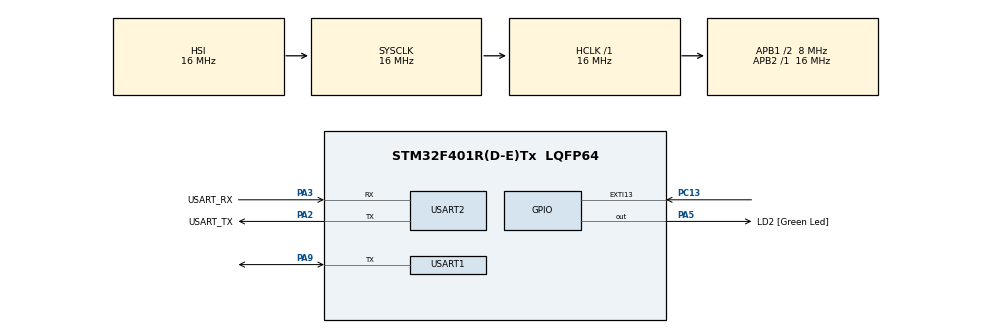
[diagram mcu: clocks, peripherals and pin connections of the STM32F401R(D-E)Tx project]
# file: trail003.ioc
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Mcu.Family=STM32F4
Mcu.Name=STM32F401R(D-E)Tx
Mcu.Package=LQFP64
NVIC.EXTI15_10_IRQn=true\:0\:0\:false\:false\:true\:true\:true\:true
NVIC.PriorityGroup=NVIC_PRIORITYGROUP_0
NVIC.USART1_IRQn=true\:0\:0\:false\:false\:true\:true\:true\:true
PA13.GPIO_Label=TMS
PA13.Mode=Serial_Wire
PA13.Signal=SYS_JTMS-SWDIO
PA14.GPIO_Label=TCK
PA14.Mode=Serial_Wire
PA14.Signal=SYS_JTCK-SWCLK
PA2.GPIO_Label=USART_TX
PA2.GPIO_Mode=GPIO_MODE_AF_PP
PA2.GPIO_PuPd=GPIO_NOPULL
PA2.GPIO_Speed=GPIO_SPEED_FREQ_LOW
PA2.Mode=Asynchronous
PA2.Signal=USART2_TX
PA3.GPIO_Label=USART_RX
PA3.GPIO_Mode=GPIO_MODE_AF_PP
PA3.GPIO_PuPd=GPIO_NOPULL
PA3.GPIO_Speed=GPIO_SPEED_FREQ_LOW
PA3.Mode=Asynchronous
PA3.Signal=USART2_RX
PA5.GPIO_Label=LD2 [Green Led]
PA5.GPIO_Mode=GPIO_MODE_OUTPUT_PP
PA5.GPIO_PuPd=GPIO_NOPULL
PA5.GPIO_Speed=GPIO_SPEED_FREQ_LOW
PA5.Signal=GPIO_Output
PA9.GPIO_PuPd=GPIO_PULLUP
PA9.Mode=Half_duplex(single_wire_mode)
PA9.Signal=USART1_TX
PB3.GPIO_Label=SWO
PB3.Signal=SYS_JTDO-SWO
PC13-ANTI_TAMP.GPIO_ModeDefaultEXTI=GPIO_MODE_IT_RISING
PC13-ANTI_TAMP.GPIO_PuPd=GPIO_PULLDOWN
PC13-ANTI_TAMP.Signal=GPXTI13
PC14-OSC32_IN.Signal=RCC_OSC32_IN
PC15-OSC32_OUT.Signal=RCC_OSC32_OUT
PH0\ -\ OSC_IN.Mode=HSE-External-Clock-Source
PH0\ -\ OSC_IN.Signal=RCC_OSC_IN
PH1\ -\ OSC_OUT.Mode=HSE-External-Clock-Source
PH1\ -\ OSC_OUT.Signal=RCC_OSC_OUT
ProjectManager.HeapSize=0x200
ProjectManager.StackSize=0x400
ProjectManager.TargetToolchain=STM32CubeIDE
RCC.48MHZClocksFreq_Value=96000000
RCC.AHBFreq_Value=16000000
RCC.APB1CLKDivider=RCC_HCLK_DIV2
RCC.APB1Freq_Value=8000000
RCC.APB1TimFreq_Value=16000000
RCC.APB2Freq_Value=16000000
RCC.APB2TimFreq_Value=16000000
RCC.CortexFreq_Value=16000000
RCC.HCLKFreq_Value=16000000
RCC.HSE_VALUE=8000000
RCC.HSI_VALUE=16000000
RCC.PLLM=4
RCC.PLLN=336
RCC.PLLP=RCC_PLLP_DIV4
RCC.PLLQ=7
RCC.PLLSourceVirtual=RCC_PLLSOURCE_HSE
RCC.SYSCLKFreq_VALUE=16000000
RCC.VCOOutputFreq_Value=672000000
USART1.VirtualMode=VM_ASYNC
USART2.VirtualMode=VM_ASYNC
board=NUCLEO-F401RE

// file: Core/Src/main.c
/* USER CODE BEGIN Header */
/**
  ******************************************************************************
  * @file           : main.c
  * @brief          : Main program body
  ******************************************************************************
  * @attention
  *
  * Copyright (c) 2024 STMicroelectronics.
  * All rights reserved.
  *
  * This software is licensed under terms that can be found in the LICENSE file
  * in the root directory of this software component.
  * If no LICENSE file comes with this software, it is provided AS-IS.
  *
  ******************************************************************************
  */
/* USER CODE END Header */
#include "main.h"

/* USER CODE BEGIN Includes */

#include "stdio.h"

/* USER CODE END Includes */

UART_HandleTypeDef huart1;
UART_HandleTypeDef huart2;

void SystemClock_Config(void);
static void MX_GPIO_Init(void);
static void MX_USART2_UART_Init(void);
static void MX_USART1_UART_Init(void);

/* USER CODE BEGIN 0 */

uint8_t RxData[30];
int indx = 0;
uint8_t TxData[25];
int isClicked = 0;

void HAL_UARTEx_RxEventCallback(UART_HandleTypeDef* huart, uint16_t Size) {
	HAL_UARTEx_ReceiveToIdle_IT(&huart1, RxData, 30);
}

void HAL_GPIO_EXTI_Callback(uint16_t GPIO_Pin) {
	if (GPIO_Pin == GPIO_PIN_13) {

		if (isClicked == 0) {
			isClicked = 1;
		}

		else if (isClicked == 3) {
			isClicked = 2;
		}
	}
}

/* USER CODE END 0 */

int main(void)
{

  /* MCU Configuration--------------------------------------------------------*/

  /* Reset of all peripherals, Initializes the Flash interface and the Systick. */
  HAL_Init();

  /* Configure the system clock */
  SystemClock_Config();

  /* Initialize all configured peripherals */
  MX_GPIO_Init();
  MX_USART2_UART_Init();
  MX_USART1_UART_Init();
  /* USER CODE BEGIN 2 */

  HAL_HalfDuplex_EnableReceiver(&huart1);
  HAL_UARTEx_ReceiveToIdle_IT(&huart1, RxData, 30);

  /* USER CODE END 2 */

  /* Infinite loop */
  while (1)
  {

    /* USER CODE BEGIN 3 */

	  if (isClicked == 1) {

		  HAL_Delay(200);

		  indx++;

		  int len = sprintf((char*) TxData, "LED_ONN", indx);
		  HAL_HalfDuplex_EnableTransmitter(&huart1);
		  HAL_UART_Transmit(&huart1, TxData, len, 1000);
		  HAL_HalfDuplex_EnableReceiver(&huart1);
		  isClicked = 3;
	  }

	  else if (isClicked == 2) {

		  HAL_Delay(200);

		  indx++;

		  int len = sprintf((char*) TxData, "LED_OFF", indx);
		  HAL_HalfDuplex_EnableTransmitter(&huart1);
		  HAL_UART_Transmit(&huart1, TxData, len, 1000);
		  HAL_HalfDuplex_EnableReceiver(&huart1);
		  isClicked = 0;
	  }

  }
  /* USER CODE END 3 */
}

void SystemClock_Config(void)
{
  RCC_OscInitTypeDef RCC_OscInitStruct = {0};
  RCC_ClkInitTypeDef RCC_ClkInitStruct = {0};

  /** Configure the main internal regulator output voltage
  */
  __HAL_RCC_PWR_CLK_ENABLE();
  __HAL_PWR_VOLTAGESCALING_CONFIG(PWR_REGULATOR_VOLTAGE_SCALE2);

  /** Initializes the RCC Oscillators according to the specified parameters
  * in the RCC_OscInitTypeDef structure.
  */
  RCC_OscInitStruct.OscillatorType = RCC_OSCILLATORTYPE_HSI;
  RCC_OscInitStruct.HSIState = RCC_HSI_ON;
  RCC_OscInitStruct.HSICalibrationValue = RCC_HSICALIBRATION_DEFAULT;
  RCC_OscInitStruct.PLL.PLLState = RCC_PLL_NONE;
  if (HAL_RCC_OscConfig(&RCC_OscInitStruct) != HAL_OK)
  {
    Error_Handler();
  }

  /** Initializes the CPU, AHB and APB buses clocks
  */
  RCC_ClkInitStruct.ClockType = RCC_CLOCKTYPE_HCLK|RCC_CLOCKTYPE_SYSCLK
                              |RCC_CLOCKTYPE_PCLK1|RCC_CLOCKTYPE_PCLK2;
  RCC_ClkInitStruct.SYSCLKSource = RCC_SYSCLKSOURCE_HSI;
  RCC_ClkInitStruct.AHBCLKDivider = RCC_SYSCLK_DIV1;
  RCC_ClkInitStruct.APB1CLKDivider = RCC_HCLK_DIV2;
  RCC_ClkInitStruct.APB2CLKDivider = RCC_HCLK_DIV1;

  if (HAL_RCC_ClockConfig(&RCC_ClkInitStruct, FLASH_LATENCY_0) != HAL_OK)
  {
    Error_Handler();
  }
}

static void MX_USART1_UART_Init(void)
{

  huart1.Instance = USART1;
  huart1.Init.BaudRate = 115200;
  huart1.Init.WordLength = UART_WORDLENGTH_8B;
  huart1.Init.StopBits = UART_STOPBITS_1;
  huart1.Init.Parity = UART_PARITY_NONE;
  huart1.Init.Mode = UART_MODE_TX_RX;
  huart1.Init.HwFlowCtl = UART_HWCONTROL_NONE;
  huart1.Init.OverSampling = UART_OVERSAMPLING_16;
  if (HAL_HalfDuplex_Init(&huart1) != HAL_OK)
  {
    Error_Handler();
  }

}

static void MX_USART2_UART_Init(void)
{

  huart2.Instance = USART2;
  huart2.Init.BaudRate = 115200;
  huart2.Init.WordLength = UART_WORDLENGTH_8B;
  huart2.Init.StopBits = UART_STOPBITS_1;
  huart2.Init.Parity = UART_PARITY_NONE;
  huart2.Init.Mode = UART_MODE_TX_RX;
  huart2.Init.HwFlowCtl = UART_HWCONTROL_NONE;
  huart2.Init.OverSampling = UART_OVERSAMPLING_16;
  if (HAL_UART_Init(&huart2) != HAL_OK)
  {
    Error_Handler();
  }

}

static void MX_GPIO_Init(void)
{
  GPIO_InitTypeDef GPIO_InitStruct = {0};

  /* GPIO Ports Clock Enable */
  __HAL_RCC_GPIOC_CLK_ENABLE();
  __HAL_RCC_GPIOH_CLK_ENABLE();
  __HAL_RCC_GPIOA_CLK_ENABLE();
  __HAL_RCC_GPIOB_CLK_ENABLE();

  /*Configure GPIO pin Output Level */
  HAL_GPIO_WritePin(LD2_GPIO_Port, LD2_Pin, GPIO_PIN_RESET);

  /*Configure GPIO pin : PC13 */
  GPIO_InitStruct.Pin = GPIO_PIN_13;
  GPIO_InitStruct.Mode = GPIO_MODE_IT_RISING;
  GPIO_InitStruct.Pull = GPIO_PULLDOWN;
  HAL_GPIO_Init(GPIOC, &GPIO_InitStruct);

  /*Configure GPIO pin : LD2_Pin */
  GPIO_InitStruct.Pin = LD2_Pin;
  GPIO_InitStruct.Mode = GPIO_MODE_OUTPUT_PP;
  GPIO_InitStruct.Pull = GPIO_NOPULL;
  GPIO_InitStruct.Speed = GPIO_SPEED_FREQ_LOW;
  HAL_GPIO_Init(LD2_GPIO_Port, &GPIO_InitStruct);

  /* EXTI interrupt init*/
  HAL_NVIC_SetPriority(EXTI15_10_IRQn, 0, 0);
  HAL_NVIC_EnableIRQ(EXTI15_10_IRQn);

}

void Error_Handler(void)
{
  __disable_irq();
  while (1)
  {
  }
}
